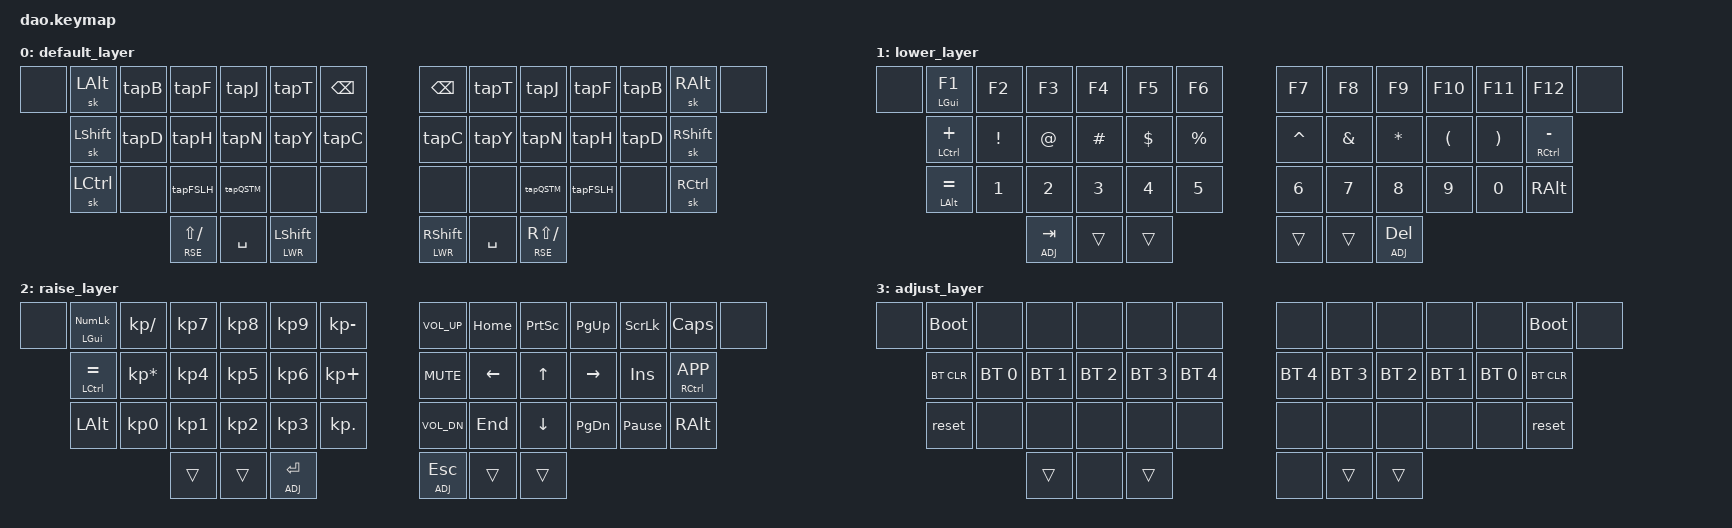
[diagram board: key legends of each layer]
/*
 * Copyright (c) 2021 Rafael Yumagulov
 *
 * SPDX-License-Identifier: MIT
 */

#include <behaviors.dtsi>
#include <dt-bindings/zmk/keys.h>
#include <dt-bindings/zmk/bt.h>

#define DEF 0
#define LWR 1
#define RSE 2
#define ADJ 3

#define COMBO(NAME, BINDINGS, KEYPOS) \
    combo_##NAME { \
        layers = <0>; \
        timeout-ms = <150>; \
        bindings = BINDINGS; \
        key-positions = <KEYPOS>; \
    };

#define MACRO_STRINGIFY(x) #x
#define MACRO(NAME, ...) \
    NAME: NAME { \
        label = MACRO_STRINGIFY(NAME); \
        compatible = "zmk,behavior-macro"; \
        #binding-cells = <0>; \
        wait-ms = <0>; \
        tap-ms = <0>; \
        bindings = __VA_ARGS__; \
    };

&lt { quick_tap_ms = <200>; };
&mt { quick_tap_ms = <200>; };
&sk {
    release-after-ms = <1000>;
    quick-release;
    ignore-modifiers;
};

/ {
    macros {
        MACRO(tapA, <&macro_tap &kp A>)
        MACRO(tapB, <&macro_tap &kp B>)
        MACRO(tapC, <&macro_tap &kp C>)
        MACRO(tapD, <&macro_tap &kp D>)
        MACRO(tapE, <&macro_tap &kp E>)
        MACRO(tapF, <&macro_tap &kp F>)
        MACRO(tapG, <&macro_tap &kp G>)
        MACRO(tapH, <&macro_tap &kp H>)
        MACRO(tapI, <&macro_tap &kp I>)
        MACRO(tapJ, <&macro_tap &kp J>)
        MACRO(tapK, <&macro_tap &kp K>)
        MACRO(tapL, <&macro_tap &kp L>)
        MACRO(tapM, <&macro_tap &kp M>)
        MACRO(tapN, <&macro_tap &kp N>)
        MACRO(tapO, <&macro_tap &kp O>)
        MACRO(tapP, <&macro_tap &kp P>)
        MACRO(tapQ, <&macro_tap &kp Q>)
        MACRO(tapR, <&macro_tap &kp R>)
        MACRO(tapS, <&macro_tap &kp S>)
        MACRO(tapT, <&macro_tap &kp T>)
        MACRO(tapU, <&macro_tap &kp U>)
        MACRO(tapV, <&macro_tap &kp V>)
        MACRO(tapW, <&macro_tap &kp W>)
        MACRO(tapX, <&macro_tap &kp X>)
        MACRO(tapY, <&macro_tap &kp Y>)
        MACRO(tapZ, <&macro_tap &kp Z>)
        MACRO(tapGRAVE, <&macro_tap &kp GRAVE>)
        MACRO(tapLBKT, <&macro_tap &kp LBKT>)
        MACRO(tapRBKT, <&macro_tap &kp RBKT>)
        MACRO(tapSEMI, <&macro_tap &kp SEMI>)
        MACRO(tapSQT, <&macro_tap &kp SQT>)
        MACRO(tapCOMMA, <&macro_tap &kp COMMA>)
        MACRO(tapDOT, <&macro_tap &kp DOT>)
        MACRO(tapFSLH, <&macro_tap &kp FSLH>)
        MACRO(tapQSTM, <&macro_press &kp LSHFT>, <&macro_tap &kp FSLH>, <&macro_release &kp LSHFT>)
        MACRO(tapC_N, <&macro_tap &kp C &kp N>)
    };
    behaviors {
        cmt: custom_mode_tap {
            compatible = "zmk,behavior-hold-tap";
            label = "CUSTOM_MODE_TAP";
            #binding-cells = <2>;
            flavor = "balanced";
            tapping-term-ms = <1000>;
            quick-tap-ms = <250>;
            global-quick-tap;
            bindings = <&kp>, <&kp>;
        };
    };
    combos {
        compatible = "zmk,combos";
              
        COMBO(le, <&tapE>, 5 4)
        COMBO(lz, <&tapZ>, 4 3)
        COMBO(lm, <&tapM>, 3 2)
        COMBO(ls, <&tapS>, 5 3)
        COMBO(lsqt, <&tapSQT>, 4 2)
        COMBO(ldot, <&tapDOT>, 5 2)
        COMBO(lq, <&tapQ>, 5 4 3)
        COMBO(lrbkt, <&tapRBKT>, 4 3 2)
        COMBO(lgrave, <&tapGRAVE>, 5 3 2)
        COMBO(lesc, <&kp ESC>, 5 4 3 2)
        COMBO(lctrl_bspc, <&kp LC(BSPC)>, 7 20)

        COMBO(re, <&tapE>, 8 9)
        COMBO(rz, <&tapZ>, 9 10)
        COMBO(rm, <&tapM>, 10 11)
        COMBO(rs, <&tapS>, 8 10)
        COMBO(rsqt, <&tapSQT>, 9 11)
        COMBO(rdot, <&tapDOT>, 8 11)
        COMBO(rq, <&tapQ>, 8 9 10)
        COMBO(rbkt, <&tapRBKT>, 9 10 11)
        COMBO(rgrave, <&tapGRAVE>, 8 10 11)
        COMBO(resc, <&kp ESC>, 8 9 10 11)
        COMBO(rctrl_bspc, <&kp RC(BSPC)>, 6 19)
              
        COMBO(lg, <&tapG>, 18 17)
        COMBO(lu, <&tapU>, 17 16)
        COMBO(lp, <&tapP>, 16 15)
        COMBO(li, <&tapI>, 18 16)
        COMBO(lw, <&tapW>, 17 15)
        COMBO(lo, <&tapO>, 18 15)
        COMBO(lcn, <&tapC_N>, 18 17 16)
        COMBO(la, <&tapA>, 17 16 15)
        COMBO(ltab, <&kp TAB>, 18 16 15)
        COMBO(lret, <&kp RET>, 18 17 16 15)
              
        COMBO(rg, <&tapG>, 21 22)
        COMBO(ru, <&tapU>, 22 23)
        COMBO(rp, <&tapP>, 23 24)
        COMBO(ri, <&tapI>, 21 23)
        COMBO(rw, <&tapW>, 22 24)
        COMBO(ro, <&tapO>, 21 24)
        COMBO(rcn, <&tapC_N>, 21 22 23)
        COMBO(ra, <&tapA>, 22 23 24)
        COMBO(rtab, <&kp TAB>, 21 23 24)
        COMBO(rret, <&kp RET>, 21 22 23 24)
        
        COMBO(lv, <&tapV>, 39 19)
        COMBO(lk, <&tapK>, 39 18)
        COMBO(lr, <&tapR>, 39 17)
        COMBO(ll, <&tapL>, 39 16)
        COMBO(lcomma, <&tapCOMMA>, 39 15)
        COMBO(lx, <&tapX>, 39 18 17)
        COMBO(llbkt, <&tapLBKT>, 39 17 16)
        COMBO(lsemi, <&tapSEMI>, 39 16 15)
        
        COMBO(rv, <&tapV>, 42 20)
        COMBO(rk, <&tapK>, 42 21)
        COMBO(rr, <&tapR>, 42 22)
        COMBO(rl, <&tapL>, 42 23)
        COMBO(rcomma, <&tapCOMMA>, 42 24)
        COMBO(rx, <&tapX>, 42 21 22)
        COMBO(rlbkt, <&tapLBKT>, 42 22 23)
        COMBO(rsemi, <&tapSEMI>, 42 23 24)

    };
    keymap {
        compatible = "zmk,keymap";
        
        default_layer {
            bindings = <
//0     1           2           3           4               5           6                       7               8               9               10          11          12           13
&none   &sk LALT    &tapB       &tapF       &tapJ           &tapT       &kp BSPC                &kp BSPC        &tapT           &tapJ           &tapF       &tapB       &sk RALT    &none
//      14          15          16          17              18          19                      20              21              22              23          24          25
        &sk LSHIFT  &tapD       &tapH       &tapN           &tapY       &tapC                   &tapC           &tapY           &tapN           &tapH       &tapD       &sk RSHIFT
//      26          27          28          29              30          31                      32              33              34              35          36          37
        &sk LCTRL   &none       &tapFSLH    &tapQSTM    &none       &none                   &none           &none           &tapQSTM    &tapFSLH    &none       &sk RCTRL
//                              38                          39          40                      41              42              43
                                &lt RSE LS(FSLH)            &kp SPACE   &lt LWR LSHFT           &lt LWR RSHFT   &kp SPACE   &lt RSE RS(FSLH)
            >;
                };
                lower_layer {
                        bindings = <
  &none   &mt LGUI F1      &kp F2     &kp F3   &kp F4        &kp F5     &kp F6      &kp F7      &kp F8     &kp F9        &kp F10    &kp F11    &kp F12           &none
          &mt LCTRL PLUS   &kp EXCL   &kp AT   &kp HASH      &kp DLLR   &kp PRCNT   &kp CARET   &kp AMPS   &kp STAR      &kp LPAR   &kp RPAR   &mt RCTRL MINUS
          &mt LALT EQUAL   &kp N1     &kp N2   &kp N3        &kp N4     &kp N5      &kp N6      &kp N7     &kp N8        &kp N9     &kp N0     &kp RALT
                                               &lt ADJ TAB   &trans     &trans      &trans      &trans     &lt ADJ DEL
                        >;
                };

                raise_layer {
                        bindings = <
  &none   &mt LGUI KP_NUM   &kp KP_SLASH      &kp KP_N7   &kp KP_N8   &kp KP_N9   &kp KP_MINUS   &kp C_VOL_UP   &kp HOME   &kp PSCRN   &kp PG_UP   &kp SLCK          &kp CLCK           &none
          &mt LCTRL EQUAL   &kp KP_MULTIPLY   &kp KP_N4   &kp KP_N5   &kp KP_N6   &kp KP_PLUS    &kp C_MUTE     &kp LEFT   &kp UP      &kp RIGHT   &kp INS           &mt RCTRL  K_APP
          &kp LALT          &kp KP_N0         &kp KP_N1   &kp KP_N2   &kp KP_N3   &kp KP_DOT     &kp C_VOL_DN   &kp END    &kp DOWN    &kp PG_DN   &kp PAUSE_BREAK   &kp RALT
                                                          &trans      &trans      &lt ADJ RET    &lt ADJ ESC    &trans     &trans
                        >;
                };
                adjust_layer {
                        bindings = <
  &none   &bootloader   &none          &none          &none          &none          &none          &none          &none          &none          &none          &none          &bootloader   &none
          &bt BT_CLR    &bt BT_SEL 0   &bt BT_SEL 1   &bt BT_SEL 2   &bt BT_SEL 3   &bt BT_SEL 4   &bt BT_SEL 4   &bt BT_SEL 3   &bt BT_SEL 2   &bt BT_SEL 1   &bt BT_SEL 0   &bt BT_CLR
          &reset        &none          &none          &none          &none          &none          &none          &none          &none          &none          &none          &reset
                                                      &trans         &none          &trans         &none          &trans         &trans
                        >;
                };
        };
};
